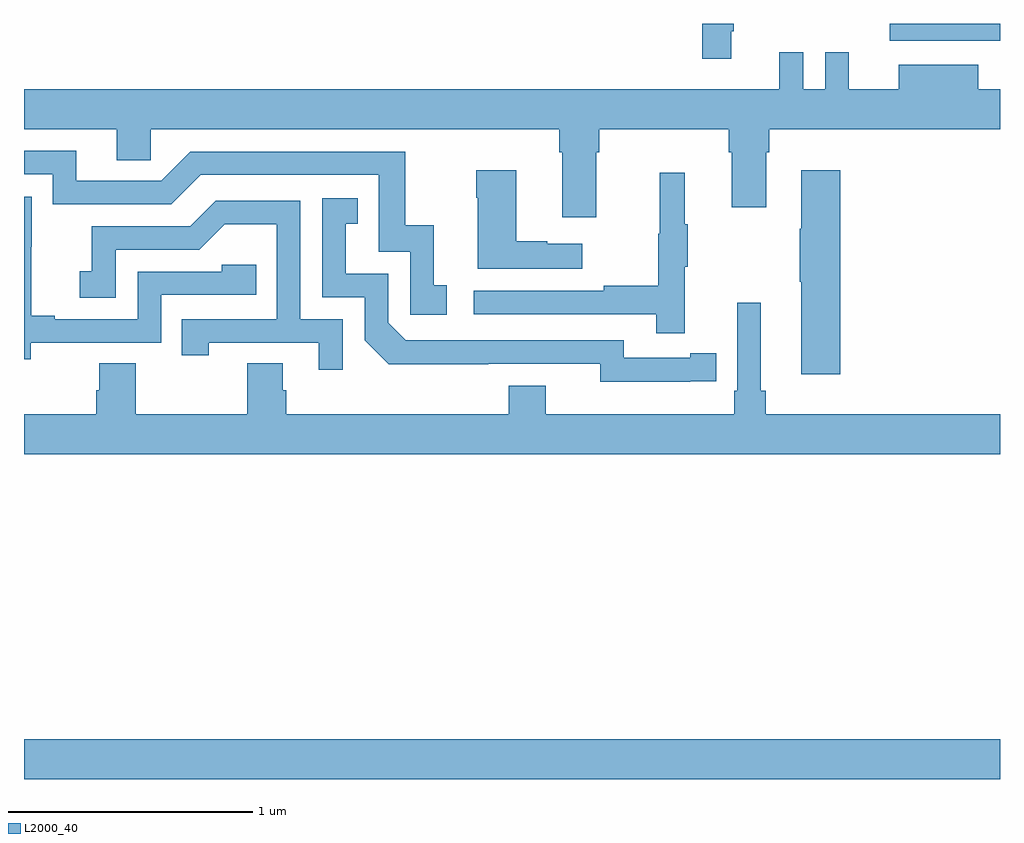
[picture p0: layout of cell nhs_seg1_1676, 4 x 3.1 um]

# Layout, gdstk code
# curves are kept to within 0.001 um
import gdstk
lib = gdstk.Library(unit=1e-6, precision=1e-09)
def R(c, l, rs):  # rectangles x0, y0, x1, y1
    for r in rs: c.add(gdstk.rectangle(r[:2], r[2:], *l))
def P(c, l, *ps):  # polygons
    for p in ps: c.add(gdstk.Polygon(p, *l))
L2000_40 = (2000, 40)

nhs_seg1_1676 = lib.new_cell('nhs_seg1_1676')
R(nhs_seg1_1676, L2000_40, [(203,513.104,207,513.268), (206.549,516.131,207,516.199)])
P(nhs_seg1_1676, L2000_40, [(205.898,516.169),(205.909,516.169),(205.909,516.199),(205.78,516.199),(205.78,516.057),(205.898,516.057)],
  [(205.345,515.672),(205.358,515.672),(205.358,515.768),(205.889,515.768),(205.889,515.672),(205.901,515.672),(205.901,515.448),(206.041,515.448),(206.041,515.672),(206.054,515.672),(206.054,515.768),(207,515.768),(207,515.932),(206.911,515.932),(206.911,516.031),(206.585,516.031),(206.585,515.932),(206.381,515.932),(206.381,516.082),(206.283,516.082),(206.283,515.932),(206.193,515.932),(206.193,516.082),(206.096,516.082),(206.096,515.932),(203,515.932),(203,515.768),(203.381,515.768),(203.381,515.641),(203.52,515.641),(203.52,515.768),(205.193,515.768),(205.193,515.672),(205.205,515.672),(205.205,515.406),(205.345,515.406)],
  [(204.733,515.127),(204.68,515.127),(204.68,515.374),(204.562,515.374),(204.562,515.676),(203.682,515.676),(203.562,515.556),(203.215,515.556),(203.215,515.679),(203,515.679),(203,515.583),(203.118,515.583),(203.118,515.46),(203.604,515.46),(203.724,515.58),(204.453,515.58),(204.453,515.265),(204.582,515.265),(204.582,515.007),(204.733,515.007)],
  [(206.345,515.599),(206.186,515.599),(206.186,515.36),(206.179,515.36),(206.179,515.143),(206.186,515.143),(206.186,514.764),(206.345,514.764)],
  [(205.288,515.299),(205.145,515.299),(205.145,515.309),(205.018,515.309),(205.018,515.599),(204.853,515.599),(204.853,515.486),(204.86,515.486),(204.86,515.195),(205.288,515.195)],
  [(205.709,515.203),(205.72,515.203),(205.72,515.377),(205.709,515.377),(205.709,515.59),(205.606,515.59),(205.606,515.34),(205.599,515.34),(205.599,515.126),(205.375,515.126),(205.375,515.106),(204.843,515.106),(204.843,515.01),(205.591,515.01),(205.591,514.932),(205.709,514.932)],
  [(203.028,514.893),(203.562,514.893),(203.562,515.088),(203.951,515.088),(203.951,515.211),(203.811,515.211),(203.811,515.184),(203.466,515.184),(203.466,514.989),(203.125,514.989),(203.125,515.002),(203.03,515.002),(203.03,515.285),(203.031,515.285),(203.031,515.491),(203,515.491),(203,514.825),(203.028,514.825)],
  [(205.73,514.734),(205.838,514.734),(205.838,514.85),(205.73,514.85),(205.73,514.83),(205.458,514.83),(205.458,514.902),(204.564,514.902),(204.492,514.974),(204.492,515.175),(204.319,515.175),(204.319,515.379),(204.368,515.379),(204.368,515.485),(204.222,515.485),(204.222,515.079),(204.396,515.079),(204.396,514.902),(204.494,514.805),(205.362,514.806),(205.362,514.733)],
  [(204.306,514.989),(204.132,514.989),(204.132,515.475),(203.786,515.475),(203.681,515.37),(203.278,515.37),(203.278,515.185),(203.229,515.185),(203.229,515.076),(203.376,515.076),(203.376,515.274),(203.718,515.274),(203.822,515.378),(204.036,515.378),(204.036,514.989),(203.647,514.989),(203.647,514.842),(203.758,514.842),(203.758,514.893),(204.209,514.893),(204.209,514.782),(204.306,514.782)],
  [(207,514.6),(206.039,514.6),(206.039,514.696),(206.02,514.696),(206.02,515.056),(205.923,515.056),(205.923,514.696),(205.91,514.696),(205.91,514.6),(205.138,514.6),(205.138,514.717),(204.986,514.717),(204.986,514.6),(204.074,514.6),(204.074,514.698),(204.061,514.698),(204.061,514.808),(203.914,514.808),(203.914,514.6),(203.457,514.6),(203.457,514.808),(203.309,514.808),(203.309,514.698),(203.297,514.698),(203.297,514.6),(203,514.6),(203,514.436),(207,514.436)])

lib.write_gds('nhs_seg1_1676.gds')
